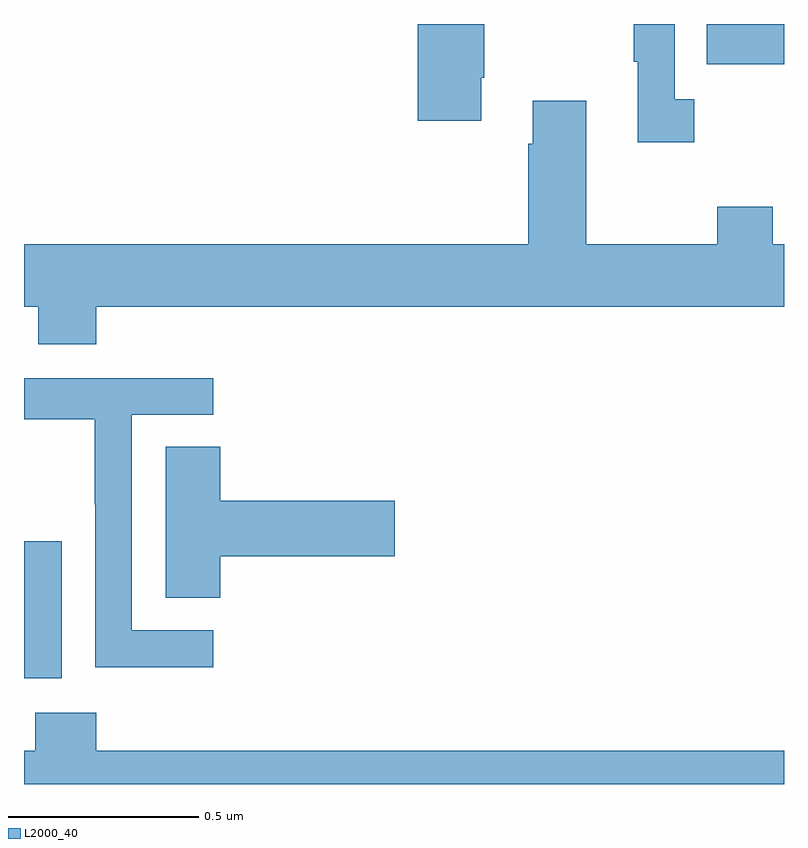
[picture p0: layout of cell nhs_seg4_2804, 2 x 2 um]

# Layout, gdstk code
import gdstk
lib = gdstk.Library(unit=1e-6, precision=1e-09)
def R(c, l, rs):  # rectangles x0, y0, x1, y1
    for r in rs: c.add(gdstk.rectangle(r[:2], r[2:], *l))
def P(c, l, *ps):  # polygons
    for p in ps: c.add(gdstk.Polygon(p, *l))
L2000_40 = (2000, 40)

nhs_seg4_2804 = lib.new_cell('nhs_seg4_2804')
R(nhs_seg4_2804, L2000_40, [(145,793.178,145.099,793.539), (146.797,794.794,147,794.9)])
P(nhs_seg4_2804, L2000_40, [(146.764,794.702),(146.712,794.702),(146.712,794.9),(146.604,794.9),(146.604,794.801),(146.615,794.801),(146.615,794.589),(146.764,794.589)],
  [(146.203,794.758),(146.211,794.758),(146.211,794.9),(146.036,794.9),(146.036,794.646),(146.203,794.646)],
  [(145.19,794.156),(147,794.156),(147,794.32),(146.971,794.32),(146.971,794.419),(146.824,794.419),(146.824,794.32),(146.479,794.32),(146.479,794.698),(146.339,794.698),(146.339,794.585),(146.327,794.585),(146.327,794.32),(145,794.32),(145,794.156),(145.037,794.156),(145.037,794.057),(145.19,794.057)],
  [(145.498,793.305),(145.284,793.305),(145.284,793.872),(145.498,793.872),(145.498,793.968),(145,793.968),(145,793.86),(145.186,793.86),(145.186,793.636),(145.188,793.636),(145.188,793.207),(145.498,793.207)],
  [(145.517,793.499),(145.975,793.499),(145.975,793.646),(145.517,793.646),(145.517,793.787),(145.373,793.787),(145.373,793.39),(145.517,793.39)],
  [(147,792.988),(145.19,792.988),(145.19,793.087),(145.03,793.087),(145.03,792.988),(145,792.988),(145,792.9),(147,792.9)])

lib.write_gds('nhs_seg4_2804.gds')
